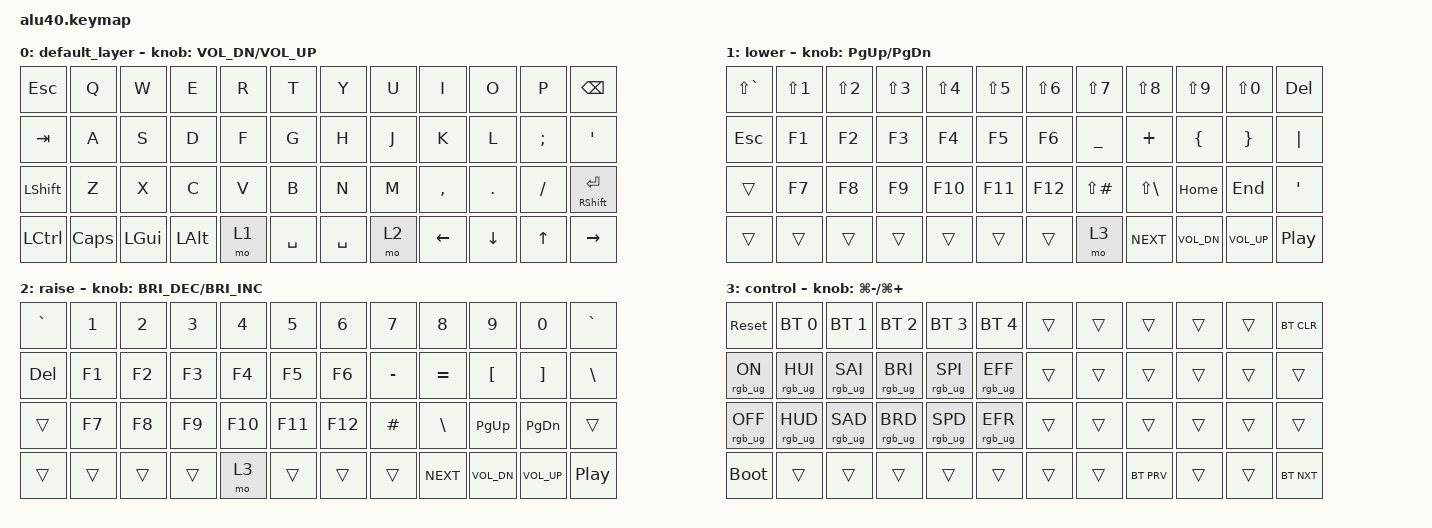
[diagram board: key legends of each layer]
/*
 * Copyright (c) 2022 The ZMK Contributors
 *
 * SPDX-License-Identifier: MIT
 */

#include <behaviors.dtsi>
#include <dt-bindings/zmk/bt.h>
#include <dt-bindings/zmk/keys.h>
#include <dt-bindings/zmk/rgb.h>

/ {
    keymap {
        compatible = "zmk,keymap";

        default_layer {
            // -----------------------------------------------------------------------------------------
            // |  TAB  |  Q   |  W   |  E   |  R   |  T   |   Y   |  U    |  I   |  O   |   P   | BSPC  |
            // |  LCTL  |  A   |  S   |  D   |  F   |  G   |   H   |  J    |  K   |  L   |   ;   |  RET  |
            // | SHIFT |  Z   |  X   |  C   |  V   |  B   |   N   |  M    |  ,   |  .   |   /   |  SHIFT  |
            // |       | LCTL | LGUI | LALT | LOWR |     SPACE    |  RAIS | LARW | DARW | UARW  |  RARW |

            bindings = <
&kp ESCAPE        &kp Q     &kp W     &kp E     &kp R  &kp T      &kp Y      &kp U  &kp I      &kp O     &kp P      &kp BSPC
&kp TAB           &kp A     &kp S     &kp D     &kp F  &kp G      &kp H      &kp J  &kp K      &kp L     &kp SEMI   &kp SINGLE_QUOTE
&kp LSHFT         &kp Z     &kp X     &kp C     &kp V  &kp B      &kp N      &kp M  &kp COMMA  &kp DOT   &kp SLASH  &mt RSHIFT ENTER
&kp LEFT_CONTROL  &kp CAPS  &kp LGUI  &kp LALT  &mo 1  &kp SPACE  &kp SPACE  &mo 2  &kp LEFT   &kp DOWN  &kp UP     &kp RIGHT
            >;

            sensor-bindings = <&inc_dec_kp C_VOL_DN C_VOL_UP>;
        };

        lower {
            bindings = <
&kp LS(GRAVE)  &kp LS(N1)  &kp LS(N2)  &kp LS(N3)  &kp LS(N4)  &kp LS(N5)  &kp LS(N6)  &kp LS(N7)    &kp LS(N8)    &kp LS(N9)    &kp LS(N0)    &kp DEL
&kp ESC        &kp F1      &kp F2      &kp F3      &kp F4      &kp F5      &kp F6      &kp UNDER     &kp PLUS      &kp LBRC      &kp RBRC      &kp PIPE
&trans         &kp F7      &kp F8      &kp F9      &kp F10     &kp F11     &kp F12     &kp LS(HASH)  &kp LS(BSLH)  &kp HOME      &kp END       &kp SQT
&trans         &trans      &trans      &trans      &trans      &trans      &trans      &mo 3         &kp C_NEXT    &kp C_VOL_DN  &kp C_VOL_UP  &kp C_PP
            >;

            sensor-bindings = <&inc_dec_kp PG_UP PG_DN>;
        };

        raise {
            bindings = <
&kp GRAVE  &kp N1  &kp N2  &kp N3  &kp N4   &kp N5   &kp N6   &kp N7     &kp N8      &kp N9        &kp N0        &kp GRAVE
&kp DEL    &kp F1  &kp F2  &kp F3  &kp F4   &kp F5   &kp F6   &kp MINUS  &kp EQUAL   &kp LBKT      &kp RBKT      &kp BSLH
&trans     &kp F7  &kp F8  &kp F9  &kp F10  &kp F11  &kp F12  &kp HASH   &kp BSLH    &kp PG_UP     &kp PG_DN     &trans
&trans     &trans  &trans  &trans  &mo 3    &trans   &trans   &trans     &kp C_NEXT  &kp C_VOL_DN  &kp C_VOL_UP  &kp C_PP
            >;

            sensor-bindings = <&inc_dec_kp C_BRI_DEC C_BRI_INC>;
        };

        control {
            bindings = <
&sys_reset       &bt BT_SEL 0     &bt BT_SEL 1     &bt BT_SEL 2     &bt BT_SEL 3     &bt BT_SEL 4     &trans  &trans  &trans      &trans  &trans  &bt BT_CLR
&rgb_ug RGB_ON   &rgb_ug RGB_HUI  &rgb_ug RGB_SAI  &rgb_ug RGB_BRI  &rgb_ug RGB_SPI  &rgb_ug RGB_EFF  &trans  &trans  &trans      &trans  &trans  &trans
&rgb_ug RGB_OFF  &rgb_ug RGB_HUD  &rgb_ug RGB_SAD  &rgb_ug RGB_BRD  &rgb_ug RGB_SPD  &rgb_ug RGB_EFR  &trans  &trans  &trans      &trans  &trans  &trans
&bootloader      &trans           &trans           &trans           &trans           &trans           &trans  &trans  &bt BT_PRV  &trans  &trans  &bt BT_NXT
            >;

            sensor-bindings = <&inc_dec_kp LG(MINUS) LG(PLUS)>;
        };
    };
};
